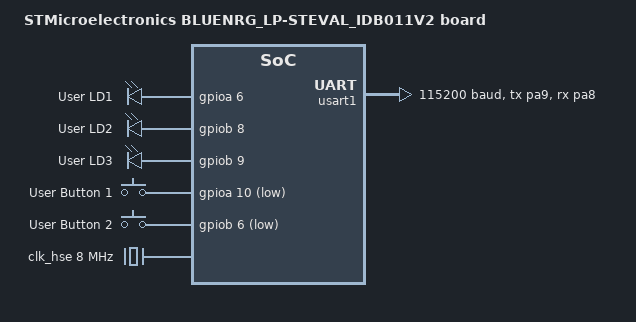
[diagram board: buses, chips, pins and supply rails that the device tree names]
/*
 * Copyright (c) 2017 Powersoft
 *
 * SPDX-License-Identifier: Apache-2.0
 */

/dts-v1/;
#include <st/bluenrg/bluenrg_lp.dtsi>
#include <st/bluenrg_3/bluenrg-355.dtsi>

/ {
	model = "STMicroelectronics BLUENRG_LP-STEVAL_IDB011V2 board";
	compatible = "st,bluenrg_lp-steval_idb011v2";

	chosen {
		zephyr,sram = &sram0;
		zephyr,flash = &flash0;
		zephyr,console = &usart1;
		zephyr,shell-uart = &usart1;
	};
	leds {
		compatible = "gpio-leds";
		green_led_1: led_1 {
			gpios = <&gpioa 6 GPIO_ACTIVE_HIGH>;
			label = "User LD1";
		};
		green_led_2: led_2 {
			gpios = <&gpiob 8 GPIO_ACTIVE_HIGH>;
			label = "User LD2";
		};
		green_led_3: led_3 {
			gpios = <&gpiob 9 GPIO_ACTIVE_HIGH>;
			label = "User LD3";
		};
	};

	gpio_keys {
		compatible = "gpio-keys";
		user_button1: button1 {
			label = "User Button 1";
			gpios = <&gpioa 10 GPIO_ACTIVE_LOW>;
		};
		user_button2: button2 {
			label = "User Button 2";
			gpios = <&gpiob 6 GPIO_ACTIVE_LOW>;
		};
	};
	aliases {
		led0 = &green_led_1;
		led1 = &green_led_2;
		led2 = &green_led_3;
		sw0 = &user_button1;
		sw1 = &user_button2;
	};
	
};

&clk_hse {
	hse-bypass;
	clock-frequency = <DT_FREQ_M(8)>; /* STLink 8MHz clock */
	status = "okay";
};

&pll {
	clocks = <&clk_hse>;
	mul = <8>;
	div = <2>;
	status = "okay";
};

&rcc {
	clocks = <&pll>;
	clock-frequency = <DT_FREQ_M(32)>;
	ahb-prescaler = <1>;	//Sur LP, il n'y a pas de prescaler associé aux bus ahb, apb donc on divise par 1
	apb1-prescaler = <1>;
	apb2-prescaler = <1>;
};

&usart1 {
	pinctrl-0 = <&usart1_tx_pa9 &usart1_rx_pa8>;
	pinctrl-names="default";
	current-speed = <115200>;
	status = "okay";
};

&gpiob {
	status = "okay";
};

&gpioa {
	status = "okay";
};

&flash0 {
	partitions {
		compatible = "fixed-partitions";
		#address-cells = <1>;
		#size-cells = <1>;

		/* Set 16KB of storage at the end of 256KB flash */
		storage_partition: partition@3c000 {
			label = "storage";
			reg = <0x0003c000 DT_SIZE_K(16)>;
		};
	};
};

/*

&adc1 {
	status = "okay";
};

&spi1 {
	status = "okay";
};
*/
